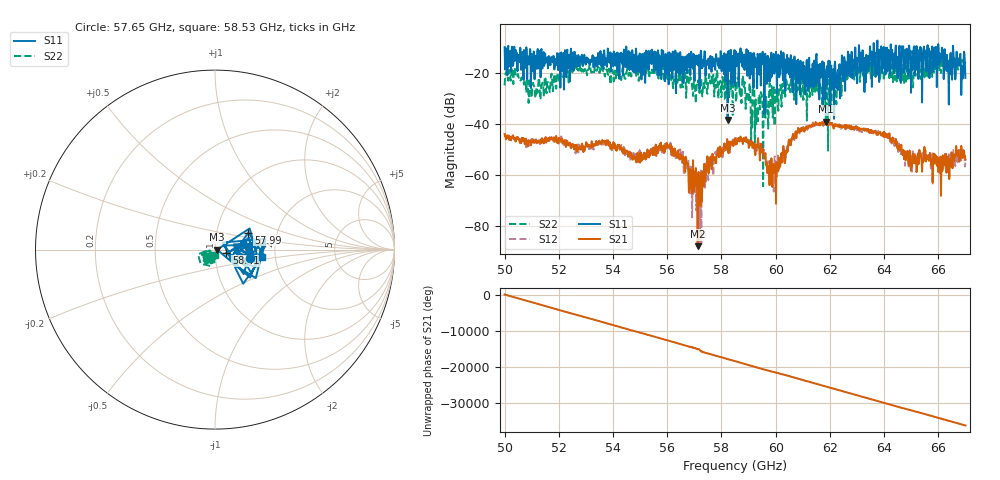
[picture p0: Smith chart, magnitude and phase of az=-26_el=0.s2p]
!Created with skrf (http://scikit-rf.org).
# GHz S RI R 50.0
!freq ReS11 ImS11 ReS21 ImS21 ReS12 ImS12 ReS22 ImS22
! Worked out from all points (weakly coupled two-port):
!   1001 points, 50 GHz to 67 GHz, reference 50 ohm
!   highest |S21| = -39.10 dB at 61.87 GHz (marker M1); lowest = -88.0 dB at 57.12 GHz (marker M2)
!   lowest |S11| = -38.4 dB at 58.23 GHz (marker M3), VSWR 1.02, Z = 51.2 - j0.0329 ohm
!   |S11| at or under -10 dB: 50.8 GHz to 54.49 GHz (3.686 GHz wide, 7 % of centre); 54.49 GHz to 62.94 GHz (8.447 GHz wide, 14.4 % of centre); 66.01 GHz to 66.54 GHz (528.6 MHz wide, 0.798 % of centre) (the widest 3 of 30)
!   |S22| runs from -64.4 to -14.0 dB; largest |S21 - S12| = 0.0024
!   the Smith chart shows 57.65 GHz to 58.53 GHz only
!   S11 on the Smith chart (normalised r, x): 57.65 GHz: 1.47, -0.15; 57.99 GHz: 1.42, +0.28; 58.41 GHz: 1.13, -0.04; 58.53 GHz: 1.70, -0.15
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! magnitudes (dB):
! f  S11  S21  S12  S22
! 50 GHz  -9.8  -44.0  -44.3  -24.8
! 51.07 GHz  -11.5  -47.3  -47.5  -24.7
! 52.84 GHz  -13.4  -48.8  -48.8  -19.4
! 55.68 GHz  -13.4  -49.1  -50.1  -22.2
! 56.43 GHz  -14.0  -53.2  -51.6  -21.5
! 57.12 GHz  -13.9  -88.0  -64.9  -23.9
! 57.65 GHz  -14.0  -57.7  -54.5  -24.0
! 57.99 GHz  -13.6  -52.7  -49.7  -29.5
! 58.23 GHz  -38.4  -48.7  -49.1  -23.1
! 58.41 GHz  -23.7  -48.4  -46.2  -36.4
! 58.5 GHz  -25.0  -45.5  -47.1  -24.2
! 58.53 GHz  -11.5  -48.1  -46.0  -31.3
! 59.32 GHz  -26.0  -49.1  -50.0  -33.9
! 59.84 GHz  -12.0  -53.5  -57.7  -25.0
! 60.8 GHz  -17.5  -43.5  -42.8  -25.6
! 61.34 GHz  -25.1  -41.0  -40.4  -26.0
! 61.87 GHz  -19.6  -39.1  -39.7  -26.5
! 62.6 GHz  -19.1  -41.5  -41.5  -19.3
! 64.18 GHz  -17.8  -45.6  -44.2  -18.5
! 65.06 GHz  -11.4  -51.7  -50.7  -25.7
! 66.06 GHz  -15.8  -54.0  -60.0  -14.7
! 67 GHz  -21.9  -54.0  -55.1  -15.5
